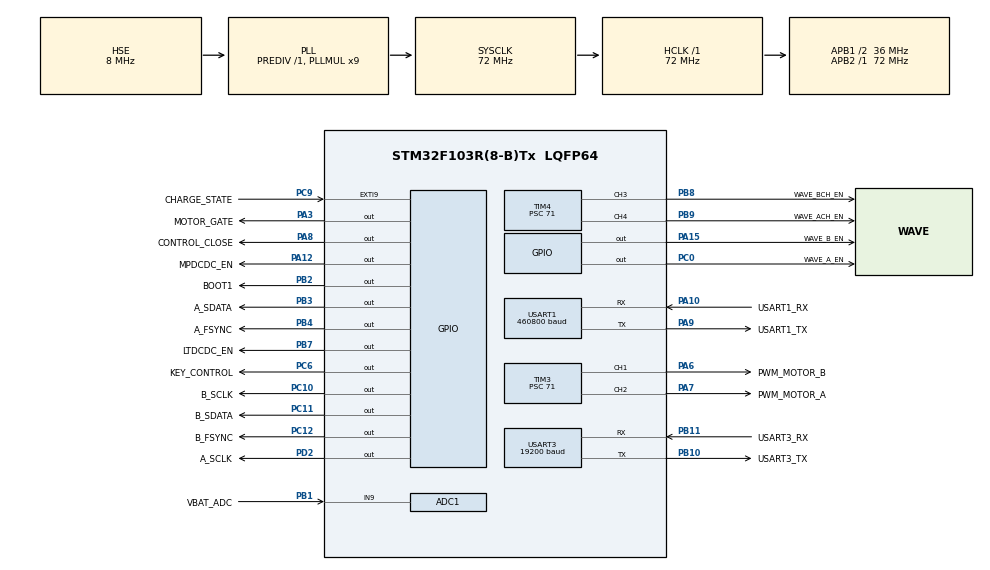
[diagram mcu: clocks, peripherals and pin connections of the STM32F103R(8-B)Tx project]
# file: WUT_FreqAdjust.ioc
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ADC1.Channel-0\#ChannelRegularConversion=ADC_CHANNEL_9
ADC1.Channel-1\#ChannelRegularConversion=ADC_CHANNEL_TEMPSENSOR
ADC1.Channel-2\#ChannelRegularConversion=ADC_CHANNEL_VREFINT
ADC1.ContinuousConvMode=ENABLE
ADC1.NbrOfConversion=3
ADC1.NbrOfConversionFlag=1
ADC1.Rank-0\#ChannelRegularConversion=1
ADC1.Rank-1\#ChannelRegularConversion=2
ADC1.Rank-2\#ChannelRegularConversion=3
ADC1.SamplingTime-0\#ChannelRegularConversion=ADC_SAMPLETIME_13CYCLES_5
ADC1.SamplingTime-1\#ChannelRegularConversion=ADC_SAMPLETIME_13CYCLES_5
ADC1.SamplingTime-2\#ChannelRegularConversion=ADC_SAMPLETIME_13CYCLES_5
ADC1.master=1
Dma.ADC1.2.Direction=DMA_PERIPH_TO_MEMORY
Dma.ADC1.2.Instance=DMA1_Channel1
Dma.ADC1.2.MemDataAlignment=DMA_MDATAALIGN_HALFWORD
Dma.ADC1.2.MemInc=DMA_MINC_ENABLE
Dma.ADC1.2.Mode=DMA_CIRCULAR
Dma.ADC1.2.PeriphDataAlignment=DMA_PDATAALIGN_HALFWORD
Dma.ADC1.2.PeriphInc=DMA_PINC_DISABLE
Dma.ADC1.2.Priority=DMA_PRIORITY_VERY_HIGH
Dma.Request0=USART3_RX
Dma.Request1=USART3_TX
Dma.Request2=ADC1
Dma.USART3_RX.0.Direction=DMA_PERIPH_TO_MEMORY
Dma.USART3_RX.0.Instance=DMA1_Channel3
Dma.USART3_RX.0.MemDataAlignment=DMA_MDATAALIGN_BYTE
Dma.USART3_RX.0.MemInc=DMA_MINC_ENABLE
Dma.USART3_RX.0.Mode=DMA_NORMAL
Dma.USART3_RX.0.PeriphDataAlignment=DMA_PDATAALIGN_BYTE
Dma.USART3_RX.0.PeriphInc=DMA_PINC_DISABLE
Dma.USART3_RX.0.Priority=DMA_PRIORITY_HIGH
Dma.USART3_TX.1.Direction=DMA_MEMORY_TO_PERIPH
Dma.USART3_TX.1.Instance=DMA1_Channel2
Dma.USART3_TX.1.MemDataAlignment=DMA_MDATAALIGN_BYTE
Dma.USART3_TX.1.MemInc=DMA_MINC_ENABLE
Dma.USART3_TX.1.Mode=DMA_NORMAL
Dma.USART3_TX.1.PeriphDataAlignment=DMA_PDATAALIGN_BYTE
Dma.USART3_TX.1.PeriphInc=DMA_PINC_DISABLE
Dma.USART3_TX.1.Priority=DMA_PRIORITY_MEDIUM
IWDG.Prescaler=IWDG_PRESCALER_256
IWDG.Reload=78
Mcu.Family=STM32F1
Mcu.Name=STM32F103R(8-B)Tx
Mcu.Package=LQFP64
NVIC.DMA1_Channel1_IRQn=true\:0\:0\:false\:false\:true\:false\:true\:true
NVIC.DMA1_Channel2_IRQn=true\:0\:0\:false\:false\:true\:false\:true\:true
NVIC.DMA1_Channel3_IRQn=true\:0\:1\:false\:false\:true\:false\:true\:true
NVIC.EXTI9_5_IRQn=true\:3\:0\:true\:false\:true\:true\:true\:true
NVIC.PriorityGroup=NVIC_PRIORITYGROUP_2
NVIC.TIM1_UP_IRQn=true\:3\:0\:false\:false\:true\:true\:true\:true
NVIC.TIM2_IRQn=true\:0\:0\:false\:false\:true\:true\:true\:true
NVIC.TIM3_IRQn=true\:0\:0\:false\:false\:true\:true\:true\:true
NVIC.TIM4_IRQn=true\:0\:0\:false\:false\:true\:true\:true\:true
NVIC.USART1_IRQn=true\:0\:0\:true\:false\:true\:true\:true\:true
NVIC.USART3_IRQn=true\:0\:2\:false\:false\:true\:true\:true\:true
PA10.GPIO_Label=USART1_RX
PA10.Mode=Asynchronous
PA10.Signal=USART1_RX
PA12.GPIO_Label=MPDCDC_EN
PA12.GPIO_PuPd=GPIO_PULLDOWN
PA12.GPIO_Speed=GPIO_SPEED_FREQ_HIGH
PA12.Signal=GPIO_Output
PA13.Mode=Serial_Wire
PA13.Signal=SYS_JTMS-SWDIO
PA14.Mode=Serial_Wire
PA14.Signal=SYS_JTCK-SWCLK
PA15.GPIO_Label=WAVE_B_EN
PA15.GPIO_PuPd=GPIO_PULLDOWN
PA15.GPIO_Speed=GPIO_SPEED_FREQ_HIGH
PA15.PinState=GPIO_PIN_RESET
PA15.Signal=GPIO_Output
PA3.GPIO_Label=MOTOR_GATE
PA3.GPIO_PuPd=GPIO_PULLDOWN
PA3.GPIO_Speed=GPIO_SPEED_FREQ_HIGH
PA3.Signal=GPIO_Output
PA6.GPIO_Label=PWM_MOTOR_B
PA6.Signal=S_TIM3_CH1
PA7.GPIO_Label=PWM_MOTOR_A
PA7.Signal=S_TIM3_CH2
PA8.GPIO_Label=CONTROL_CLOSE
PA8.GPIO_PuPd=GPIO_PULLDOWN
PA8.GPIO_Speed=GPIO_SPEED_FREQ_HIGH
PA8.Signal=GPIO_Output
PA9.GPIO_Label=USART1_TX
PA9.Mode=Asynchronous
PA9.Signal=USART1_TX
PB1.GPIO_Label=VBAT_ADC
PB1.Signal=ADCx_IN9
PB10.GPIO_Label=USART3_TX
PB10.Mode=Asynchronous
PB10.Signal=USART3_TX
PB11.GPIO_Label=USART3_RX
PB11.Mode=Asynchronous
PB11.Signal=USART3_RX
PB2.GPIO_Label=BOOT1
PB2.GPIO_PuPd=GPIO_PULLDOWN
PB2.Signal=GPIO_Output
PB3.GPIO_Label=A_SDATA
PB3.GPIO_PuPd=GPIO_PULLUP
PB3.GPIO_Speed=GPIO_SPEED_FREQ_HIGH
PB3.PinState=GPIO_PIN_SET
PB3.Signal=GPIO_Output
PB4.GPIO_Label=A_FSYNC
PB4.GPIO_PuPd=GPIO_PULLUP
PB4.GPIO_Speed=GPIO_SPEED_FREQ_HIGH
PB4.PinState=GPIO_PIN_SET
PB4.Signal=GPIO_Output
PB7.GPIO_Label=LTDCDC_EN
PB7.GPIO_PuPd=GPIO_PULLDOWN
PB7.GPIO_Speed=GPIO_SPEED_FREQ_HIGH
PB7.Signal=GPIO_Output
PB8.GPIO_Label=WAVE_BCH_EN
PB8.GPIO_ModeDefaultPP=GPIO_MODE_AF_PP
PB8.GPIO_Speed=GPIO_SPEED_FREQ_HIGH
PB8.Signal=S_TIM4_CH3
PB9.GPIO_Label=WAVE_ACH_EN
PB9.GPIO_Speed=GPIO_SPEED_FREQ_HIGH
PB9.Signal=S_TIM4_CH4
PC0.GPIO_Label=WAVE_A_EN
PC0.GPIO_PuPd=GPIO_PULLDOWN
PC0.GPIO_Speed=GPIO_SPEED_FREQ_HIGH
PC0.Signal=GPIO_Output
PC10.GPIO_Label=B_SCLK
PC10.GPIO_PuPd=GPIO_PULLUP
PC10.GPIO_Speed=GPIO_SPEED_FREQ_HIGH
PC10.PinState=GPIO_PIN_SET
PC10.Signal=GPIO_Output
PC11.GPIO_Label=B_SDATA
PC11.GPIO_PuPd=GPIO_PULLUP
PC11.GPIO_Speed=GPIO_SPEED_FREQ_HIGH
PC11.PinState=GPIO_PIN_SET
PC11.Signal=GPIO_Output
PC12.GPIO_Label=B_FSYNC
PC12.GPIO_PuPd=GPIO_PULLUP
PC12.GPIO_Speed=GPIO_SPEED_FREQ_HIGH
PC12.PinState=GPIO_PIN_SET
PC12.Signal=GPIO_Output
PC6.GPIO_Label=KEY_CONTROL
PC6.GPIO_PuPd=GPIO_PULLDOWN
PC6.GPIO_Speed=GPIO_SPEED_FREQ_HIGH
PC6.PinState=GPIO_PIN_RESET
PC6.Signal=GPIO_Output
PC9.GPIO_Label=CHARGE_STATE
PC9.GPIO_ModeDefaultEXTI=GPIO_MODE_IT_RISING_FALLING
PC9.GPIO_PuPd=GPIO_PULLUP
PC9.Signal=GPXTI9
PD0-OSC_IN.Mode=HSE-External-Oscillator
PD0-OSC_IN.Signal=RCC_OSC_IN
PD1-OSC_OUT.Mode=HSE-External-Oscillator
PD1-OSC_OUT.Signal=RCC_OSC_OUT
PD2.GPIO_Label=A_SCLK
PD2.GPIO_PuPd=GPIO_PULLUP
PD2.GPIO_Speed=GPIO_SPEED_FREQ_HIGH
PD2.PinState=GPIO_PIN_SET
PD2.Signal=GPIO_Output
ProjectManager.HeapSize=0x200
ProjectManager.StackSize=0x400
ProjectManager.TargetToolchain=STM32CubeIDE
RCC.ADCPresc=RCC_ADCPCLK2_DIV8
RCC.AHBFreq_Value=72000000
RCC.APB1CLKDivider=RCC_HCLK_DIV2
RCC.APB1Freq_Value=36000000
RCC.APB1TimFreq_Value=72000000
RCC.APB2Freq_Value=72000000
RCC.APB2TimFreq_Value=72000000
RCC.HCLKFreq_Value=72000000
RCC.PLLMUL=RCC_PLL_MUL9
RCC.PLLSourceVirtual=RCC_PLLSOURCE_HSE
RCC.SYSCLKFreq_VALUE=72000000
RCC.SYSCLKSource=RCC_SYSCLKSOURCE_PLLCLK
RCC.USBFreq_Value=72000000
SH.ADCx_IN9.0=ADC1_IN9,IN9
SH.S_TIM3_CH1.0=TIM3_CH1,PWM Generation1 CH1
SH.S_TIM3_CH2.0=TIM3_CH2,PWM Generation2 CH2
SH.S_TIM4_CH3.0=TIM4_CH3,PWM Generation3 CH3
SH.S_TIM4_CH4.0=TIM4_CH4,PWM Generation4 CH4
TIM1.Period=9999
TIM1.Prescaler=71
TIM2.Period=99
TIM2.Prescaler=71
TIM3.Channel-PWM\ Generation1\ CH1=TIM_CHANNEL_1
TIM3.Channel-PWM\ Generation2\ CH2=TIM_CHANNEL_2
TIM3.Period=3999
TIM3.Prescaler=71
TIM4.AutoReloadPreload=TIM_AUTORELOAD_PRELOAD_DISABLE
TIM4.Channel-PWM\ Generation3\ CH3=TIM_CHANNEL_3
TIM4.Channel-PWM\ Generation4\ CH4=TIM_CHANNEL_4
TIM4.OCFastMode_PWM-PWM\ Generation3\ CH3=TIM_OCFAST_ENABLE
TIM4.OCFastMode_PWM-PWM\ Generation4\ CH4=TIM_OCFAST_ENABLE
TIM4.OCMode_PWM-PWM\ Generation4\ CH4=TIM_OCMODE_PWM1
TIM4.Period=2500
TIM4.Prescaler=71
USART1.BaudRate=460800
USART1.VirtualMode=VM_ASYNC
USART3.BaudRate=19200
USART3.VirtualMode=VM_ASYNC
VP_ADC1_TempSens_Input.Mode=IN-TempSens
VP_ADC1_Vref_Input.Mode=IN-Vrefint
VP_IWDG_VS_IWDG.Mode=IWDG_Activate
VP_TIM1_VS_ClockSourceINT.Mode=Internal
VP_TIM2_VS_ClockSourceINT.Mode=Internal
VP_TIM3_VS_ClockSourceINT.Mode=Internal
VP_TIM4_VS_ClockSourceINT.Mode=Internal
board=custom

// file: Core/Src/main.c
/* USER CODE BEGIN Header */
/**
  ******************************************************************************
  * @file           : main.c
  * @brief          : Main program body
  ******************************************************************************
  * @attention
  *
  * Copyright (c) 2023 STMicroelectronics.
  * All rights reserved.
  *
  * This software is licensed under terms that can be found in the LICENSE file
  * in the root directory of this software component.
  * If no LICENSE file comes with this software, it is provided AS-IS.
  *
  ******************************************************************************
  */
/* USER CODE END Header */
#include "main.h"
#include "adc.h"
#include "dma.h"
#include "iwdg.h"
#include "tim.h"
#include "usart.h"
#include "gpio.h"

/* USER CODE BEGIN Includes */
#include "stm32f1xx_it.h"
#include "control.h"
#include "encrypt.h"
/* USER CODE END Includes */

/* USER CODE BEGIN PV */
extern enum Ultransound_Work_State  Ultrasound_state;
extern enum battery_level	battery_level_state;
extern uint8_t WorkStartFlg;
extern uint32_t WorkTime;
extern uint8_t Low_Battery_Flg;
extern uint32_t Charge_Time;
extern uint32_t ShuntDowmCount;
uint32_t Motor_Worktime = 0;
uint32_t PowerOnCount = 0;
uint8_t CompleteFlg = 0;
/* USER CODE END PV */

void SystemClock_Config(void);

int main(void)
{

  /* USER CODE BEGIN 1 */
  //char test[] = "Hello";
  /* USER CODE END 1 */

  /* MCU Configuration--------------------------------------------------------*/

  /* Reset of all peripherals, Initializes the Flash interface and the Systick. */
  HAL_Init();

  /* Configure the system clock */
  SystemClock_Config();

  /* Initialize all configured peripherals */
  MX_GPIO_Init();
  MX_DMA_Init();
  MX_TIM3_Init();
  MX_USART1_UART_Init();
  MX_USART3_UART_Init();
  MX_TIM2_Init();
  MX_IWDG_Init();
  MX_TIM4_Init();
  MX_ADC1_Init();
  MX_TIM1_Init();
  /* USER CODE BEGIN 2 */
  __HAL_UART_ENABLE_IT(&huart3, UART_IT_IDLE);
  __HAL_DMA_ENABLE_IT(&hdma_usart3_tx, DMA_IT_TC);
  __HAL_UART_CLEAR_IDLEFLAG(&huart3);
  HAL_UART_Receive_DMA(&huart3, p_IsToReceive, MAX_RX_LEN);

  HAL_TIM_Base_Start_IT(&htim1);
  HAL_TIM_Base_Start_IT(&htim2);
  HAL_TIM_Base_Start(&htim3);
  HAL_TIM_Base_Start(&htim4);
  HAL_TIM_PWM_Start(&htim3, TIM_CHANNEL_1);
  HAL_TIM_PWM_Start(&htim3, TIM_CHANNEL_2);
  HAL_TIM_PWM_Start(&htim4, TIM_CHANNEL_3);
  HAL_TIM_PWM_Start(&htim4, TIM_CHANNEL_4);

  Encrypt_ApplicaStar();
  ADC1_Init();
  System_Init();
  /* USER CODE END 2 */

  /* Infinite loop */
  while (1)
  {

    /* USER CODE BEGIN 3 */
	  ADC1_GetBatteryVol();
	  Battery_LevelReceive();
	  if(battery_send_intervaltime >= 2)
	  {
		  battery_send_intervaltime = 0;
		  Battery_LevelSend();
	  }
	  Usart3_ReceiveData();
	  Ultra_FourStates();
	  Log_Writer2Flash();
	  Warning_LowBattery();
	  HAL_IWDG_Refresh(&hiwdg);
  }
  /* USER CODE END 3 */
}

void SystemClock_Config(void)
{
  RCC_OscInitTypeDef RCC_OscInitStruct = {0};
  RCC_ClkInitTypeDef RCC_ClkInitStruct = {0};
  RCC_PeriphCLKInitTypeDef PeriphClkInit = {0};

  /** Initializes the RCC Oscillators according to the specified parameters
  * in the RCC_OscInitTypeDef structure.
  */
  RCC_OscInitStruct.OscillatorType = RCC_OSCILLATORTYPE_LSI|RCC_OSCILLATORTYPE_HSE;
  RCC_OscInitStruct.HSEState = RCC_HSE_ON;
  RCC_OscInitStruct.HSEPredivValue = RCC_HSE_PREDIV_DIV1;
  RCC_OscInitStruct.HSIState = RCC_HSI_ON;
  RCC_OscInitStruct.LSIState = RCC_LSI_ON;
  RCC_OscInitStruct.PLL.PLLState = RCC_PLL_ON;
  RCC_OscInitStruct.PLL.PLLSource = RCC_PLLSOURCE_HSE;
  RCC_OscInitStruct.PLL.PLLMUL = RCC_PLL_MUL9;
  if (HAL_RCC_OscConfig(&RCC_OscInitStruct) != HAL_OK)
  {
    Error_Handler();
  }

  /** Initializes the CPU, AHB and APB buses clocks
  */
  RCC_ClkInitStruct.ClockType = RCC_CLOCKTYPE_HCLK|RCC_CLOCKTYPE_SYSCLK
                              |RCC_CLOCKTYPE_PCLK1|RCC_CLOCKTYPE_PCLK2;
  RCC_ClkInitStruct.SYSCLKSource = RCC_SYSCLKSOURCE_PLLCLK;
  RCC_ClkInitStruct.AHBCLKDivider = RCC_SYSCLK_DIV1;
  RCC_ClkInitStruct.APB1CLKDivider = RCC_HCLK_DIV2;
  RCC_ClkInitStruct.APB2CLKDivider = RCC_HCLK_DIV1;

  if (HAL_RCC_ClockConfig(&RCC_ClkInitStruct, FLASH_LATENCY_2) != HAL_OK)
  {
    Error_Handler();
  }
  PeriphClkInit.PeriphClockSelection = RCC_PERIPHCLK_ADC;
  PeriphClkInit.AdcClockSelection = RCC_ADCPCLK2_DIV8;
  if (HAL_RCCEx_PeriphCLKConfig(&PeriphClkInit) != HAL_OK)
  {
    Error_Handler();
  }
}

/* USER CODE BEGIN 4 */
void HAL_TIM_PeriodElapsedCallback(TIM_HandleTypeDef *htim)
{
  /* USER CODE BEGIN Callback 0 */

  /* USER CODE END Callback 0 */

  /* USER CODE BEGIN Callback 1 */
	//100us
	if(htim->Instance == TIM2)
	{
		receivetime++;
		tim2_count1++;
		ultrasound_worktime++;
		Motor_Worktime++;
	}

	//10ms
	if(htim->Instance == TIM1)
	{
		tim4_count1++;
		tim4_count2++;
		tim4_count3++;
		PowerOnCount++;
		ShuntDowmCount++;

		if(PowerOnCount > 150)
		{

			CompleteFlg = 1;
		}
		if(WorkStartFlg == 1)
		{
			WorkTime++;
		}
		if((Low_Battery_Flg == 1) && (battery_level_state < boost_battery_level1))
		{
			Charge_Time++;
		}
		ultrasound_standby_time++;
		battery_send_intervaltime++;
	}
  /* USER CODE END Callback 1 */
}
/* USER CODE END 4 */

void Error_Handler(void)
{
  __disable_irq();
  while (1)
  {
  }
}
